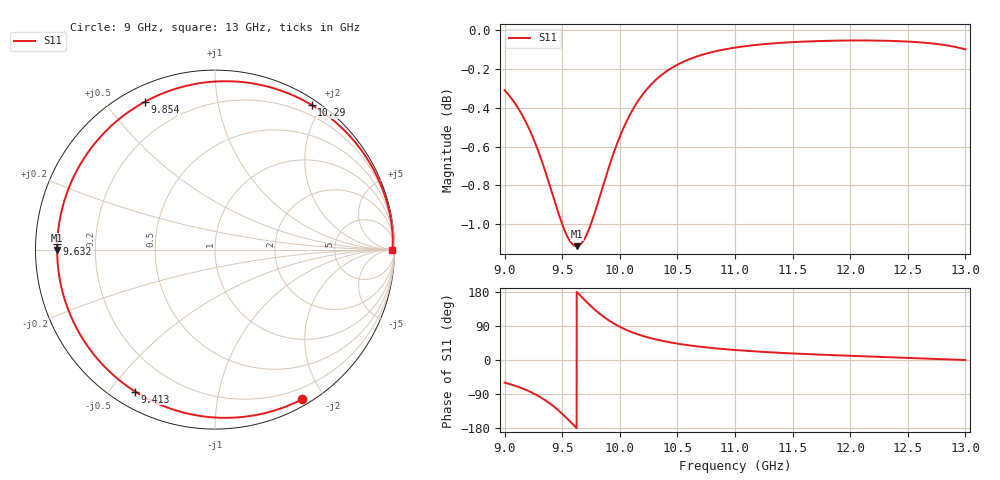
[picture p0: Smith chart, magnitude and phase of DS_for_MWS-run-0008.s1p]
! TOUCHSTONE file generated by CST DESIGN STUDIO
! Date and time: Tue Feb  4 17:06:53 2025
! Project name: C:\Work\MatlabApps\UnitCellOptimizationMatlab\CST\unitcell.cst
! Tree item: Tasks\Sweep1\SPara1\S-Parameters
! Header version: 2024
! Port assignment regex: !\s*Touchstone port\s*([0-9]+)\s*=\s*(CST MWS port|CST DES external port|CST DES block port)\s*(.+)\s* \(\"(.*)\"\)(\s*mode\s*([0-9]+))?.*
! Touchstone port assignment:
! Touchstone port 1 = CST DES external port 1 ("")
# GHz S MA R 50
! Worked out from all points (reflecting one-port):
!   4001 points, 9 GHz to 13 GHz, reference 50 ohm
!   lowest |S11| = -1.1 dB at 9.625 GHz (marker M1), VSWR 15.61, Z = 3.2 - j0.0423 ohm
!   phase of S11 starts at -60 deg and turns -301 deg over the sweep
!   S11 on the Smith chart (normalised r, x): 9 GHz: 0.07, -1.74; 9.413 GHz: 0.06, -0.58; 9.632 GHz: 0.06, +0.02; 9.854 GHz: 0.06, +0.63; 10.29 GHz: 0.07, +1.87; 13 GHz: open
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9  0.965 -59.7
9.056  0.9606 -64.6
9.13  0.9534 -72.1
9.256  0.9367 -88.9
9.34  0.9221 -103.6
9.413  0.9077 -119.3
9.457  0.899 -130.3
9.5  0.8912 -141.9
9.566  0.8824 -161.4
9.625  0.8796 -179.9
9.632  0.8797 177.9
9.688  0.8829 160.4
9.751  0.8916 141.7
9.802  0.9011 127.9
9.854  0.9117 115.3
9.922  0.9252 101.1
10  0.9387 87.6
10.066  0.9483 78.2
10.135  0.9565 70.0
10.286  0.9693 56.3
10.387  0.975 49.4
10.5  0.9797 43.2
10.72  0.9856 34.2
11  0.9897 26.4
11.5  0.993 17.3
12  0.9939 11.1
12.5  0.9933 5.9
13  0.9887 -0.2
